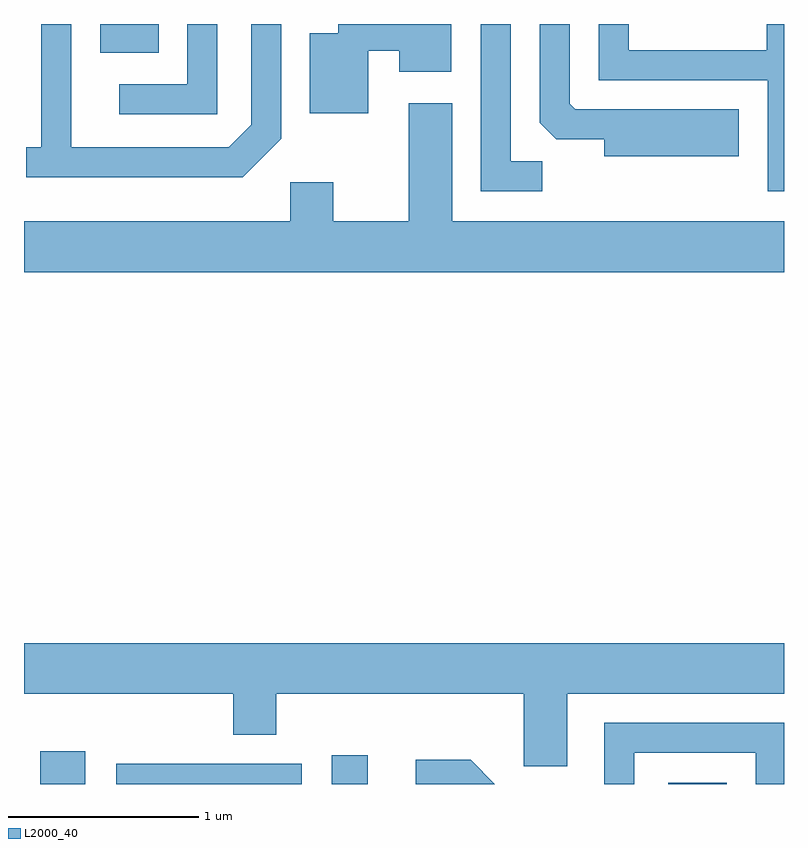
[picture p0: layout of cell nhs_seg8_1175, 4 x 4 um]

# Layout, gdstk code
import gdstk
lib = gdstk.Library(unit=1e-6, precision=1e-09)
def R(c, l, rs):  # rectangles x0, y0, x1, y1
    for r in rs: c.add(gdstk.rectangle(r[:2], r[2:], *l))
def P(c, l, *ps):  # polygons
    for p in ps: c.add(gdstk.Polygon(p, *l))
L2000_40 = (2000, 40)

nhs_seg8_1175 = lib.new_cell('nhs_seg8_1175')
R(nhs_seg8_1175, L2000_40, [(219.696,1880.342,219.934,1880.514), (220.096,1880.342,221.074,1880.449), (221.231,1880.342,221.419,1880.494), (223.001,1880.342,223.309,1880.349), (220.011,1884.191,220.319,1884.342)])
P(nhs_seg8_1175, L2000_40, [(223.611,1884.342),(223.521,1884.342),(223.521,1884.204),(222.794,1884.204),(222.794,1884.342),(222.636,1884.342),(222.636,1884.046),(223.526,1884.046),(223.526,1883.461),(223.611,1883.461)],
  [(223.374,1883.894),(222.512,1883.894),(222.484,1883.922),(222.484,1884.342),(222.326,1884.342),(222.326,1883.822),(222.412,1883.736),(222.666,1883.736),(222.666,1883.646),(223.374,1883.646)],
  [(221.424,1884.201),(221.586,1884.201),(221.586,1884.091),(221.859,1884.091),(221.859,1884.342),(221.266,1884.342),(221.266,1884.294),(221.116,1884.294),(221.116,1883.871),(221.424,1883.871)],
  [(220.964,1883.739),(220.964,1884.342),(220.806,1884.342),(220.806,1883.812),(220.689,1883.694),(219.859,1883.694),(219.859,1884.342),(219.701,1884.342),(219.701,1883.694),(219.623,1883.694),(219.623,1883.536),(220.762,1883.536)],
  [(222.338,1883.619),(222.174,1883.619),(222.174,1884.342),(222.016,1884.342),(222.016,1883.461),(222.338,1883.461)],
  [(220.629,1884.342),(220.471,1884.342),(220.471,1884.024),(220.113,1884.024),(220.113,1883.866),(220.629,1883.866)],
  [(223.611,1883.304),(221.864,1883.304),(221.864,1883.924),(221.636,1883.924),(221.636,1883.304),(221.239,1883.304),(221.239,1883.509),(221.011,1883.509),(221.011,1883.304),(219.611,1883.304),(219.611,1883.036),(223.611,1883.036)],
  [(222.469,1880.816),(223.611,1880.816),(223.611,1881.084),(219.611,1881.084),(219.611,1880.816),(220.711,1880.816),(220.711,1880.601),(220.939,1880.601),(220.939,1880.816),(222.241,1880.816),(222.241,1880.436),(222.469,1880.436)],
  [(222.824,1880.506),(223.461,1880.506),(223.461,1880.342),(223.611,1880.342),(223.611,1880.664),(222.666,1880.664),(222.666,1880.342),(222.824,1880.342)],
  [(221.962,1880.469),(221.673,1880.469),(221.673,1880.342),(222.089,1880.342)])

lib.write_gds('nhs_seg8_1175.gds')
